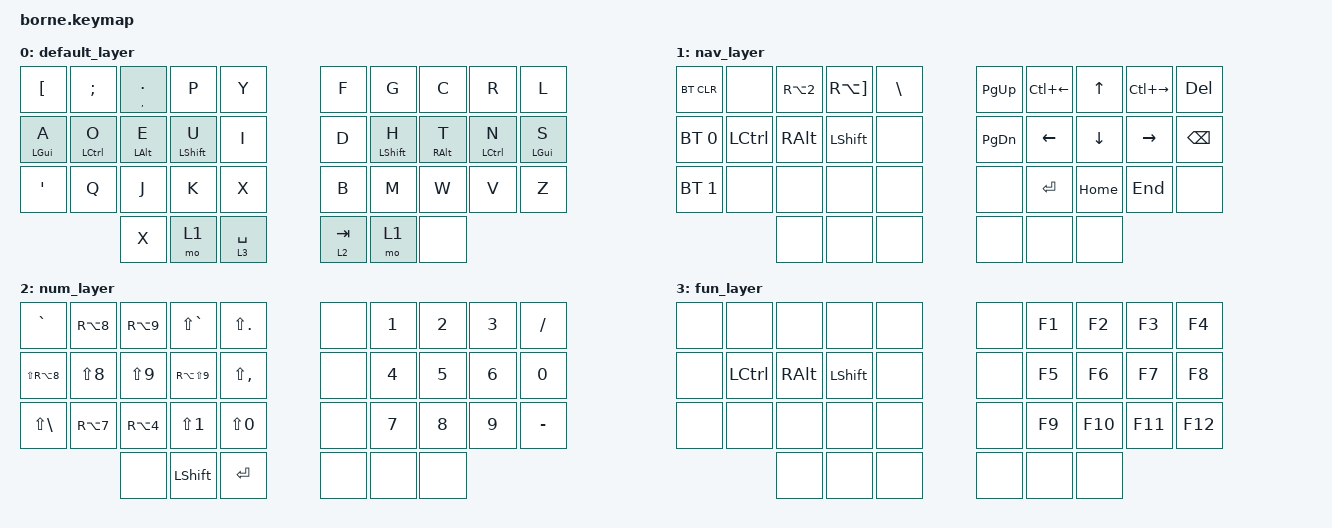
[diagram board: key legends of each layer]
/*
* Copyright (c) 2020 The ZMK Contributors

 * SPDX-License-Identifier: MIT
 */

#include <behaviors.dtsi>
#include <dt-bindings/zmk/keys.h>
#include <dt-bindings/zmk/bt.h>
/* #include "keys_se.h" */

#define COMBO(NAME, BINDINGS, KEYPOS) \
    combo_##NAME {              \
    timeout-ms = <50>;          \
    bindings = <BINDINGS>;      \
    key-positions = <KEYPOS>;   \
    layers = <0>;               \
    };

/
{
        behaviors {
                hm: homerow_mods {
                compatible = "zmk,behavior-hold-tap";
                label = "HOMEROW_MODS";
                #binding-cells = <2>;
                tapping-term-ms = <250>;
                quick_tap_ms = <0>;
                flavor = "tap-preferred";
                bindings = <&kp>, <&kp>;
                };
        };
        combos {
            compatible = "zmk,combos";
            COMBO(esc_r, &kp ESC, 5 6)
            COMBO(bspc_r, &kp BSPC, 6 7)
            COMBO(ret_r, &kp RET, 7 8)
            COMBO(bslh_l, &kp BACKSLASH, 3 4)
            COMBO(smcmma_l, &kp LS(COMMA), 2 3)
            COMBO(dblqt_l, &kp LS(N2), 1 2)
            COMBO(paran_l, &kp LS(N8), 22 23)
            COMBO(mausving_l, &kp LS(LA(N8)), 21 22)
            COMBO(bracket_l, &kp RA(N8), 23 24)
            COMBO(aligator_l, &kp GRAVE, 20 21)
			COMBO(caps_t, &kp CAPSLOCK, 26 27)
        };
        keymap {
                compatible = "zmk,keymap";

                default_layer {
// -----------------------------------------------------------------------------------------
// |  Å  |  Ö  |  .  |  P  |  Y   |   |  F  |  G   |  C  |  R  |  L  |
// |  A  |  O  |  E  |  U  |  I   |   |  D  |  H   |  T  |  N  |  S  |
// |  Ä  |  Q  |  J  |  K  |  X   |   |  B  |  M   |  W  |  V  |  Z  |
//             |  X  | NAV |  SPC |   | TAB | SYM  | CDE |
                        bindings = <
   &kp LBKT     &kp SEMICOLON   &mt COMMA DOT   &kp P           &kp Y           &kp F           &kp G           &kp C           &kp R         &kp L
   &hm LGUI A   &hm LCTRL O     &hm LALT E      &hm LSHFT U     &kp I           &kp D           &hm LSHIFT H    &hm RALT T      &hm LCTRL N   &hm LGUI S
   &kp APOS     &kp Q           &kp J           &kp K           &kp X           &kp B           &kp M           &kp W           &kp V         &kp Z
                                &kp X           &mo 1           &lt 3 SPACE     &lt 2 TAB       &mo 1           &none
                        >;
                };
                nav_layer {
// ----------------------------------------------------------------------------------
// |BTCLR|      |  @  |  ~   |  '  |   | PGUP | LEFT |  UP  | RGT | DEL  |
// | BT1 | CTRL | ALT | SHFT |     |   | PDWN | LEFT | DOWN | RGT | BKSP |
// | BT2 |      |     |      |     |   |      | ENT  | HOME | END |      |
//              |     |      |     |   |      |      |      |
                        bindings = <
   &bt BT_CLR   &none           &kp RA(N2)      &kp RA(RBKT)   &kp BACKSLASH           &kp PG_UP    &kp LC(LEFT)       &kp UP   &kp LC(RIGHT)  &kp DEL
   &bt BT_SEL 0 &kp LCTRL       &kp RALT        &kp LSHFT       &none           &kp PG_DN    &kp LEFT           &kp DOWN &kp RIGHT      &kp BSPC
   &bt BT_SEL 1 &none           &none           &none           &none           &none        &kp RET            &kp HOME &kp END        &none
                                &none           &none           &none           &none        &none              &none
                        >;
                };
                num_layer {
// -----------------------------------------------------------------------------------------
// |  <  |  [  |  ]  |   >  |  :  |   |     |  1  |  2  |  3  |     |
// |  {  |  (  |  )  |   }  |  ;  |   |     |  4  |  5  |  6  |  0  |
// |  *  | "|" |  ?  |   !  |  =  |   |     |  7  |  8  |  9  |     |
//             |     | SHFT | RET |   |     |     |     |
                        bindings = <
    &kp GRAVE            &kp RA(N8)    &kp RA(N9)      &kp LS(GRAVE)           &kp LS(DOT)     &none  &kp N1  &kp N2  &kp N3  &kp FSLH
    &kp LS(RA(N8))       &kp LS(N8)    &kp LS(N9)      &kp RA(LS(N9))          &kp LS(COMMA)   &none  &kp N4  &kp N5  &kp N6  &kp N0
    &kp LS(BSLH)         &kp RA(N7)    &kp RA(N4)   &kp LS(N1)              &kp LS(N0)      &none  &kp N7  &kp N8  &kp N9  &kp MINUS
                                                &none           &kp LSHFT               &kp RET         &none  &none   &none
                        >;
                };

                fun_layer {
// -----------------------------------------------------------------------------------------
// |     |      |     |      |     |   |     |  F1  |  F2 |  F3 |  F4 |
// |     | CTLR | ALT | SHFT |     |   |     |  F5  |  F6 |  F7 |  F8 |
// |     |      |     |      |     |   |     |  F9  | F10 | F11 | F12 |
//              |     |      |     |   |     |      |     |
                        bindings = <
   &none        &none           &none           &none           &none   &none   &kp F1  &kp F2  &kp F3  &kp F4
   &none        &kp LCTRL       &kp RALT        &kp LSHFT       &none   &none   &kp F5  &kp F6  &kp F7  &kp F8
   &none        &none           &none           &none           &none   &none   &kp F9  &kp F10 &kp F11  &kp F12
                                &none           &none           &none   &none   &none   &none
                        >;
                };
        };
};


